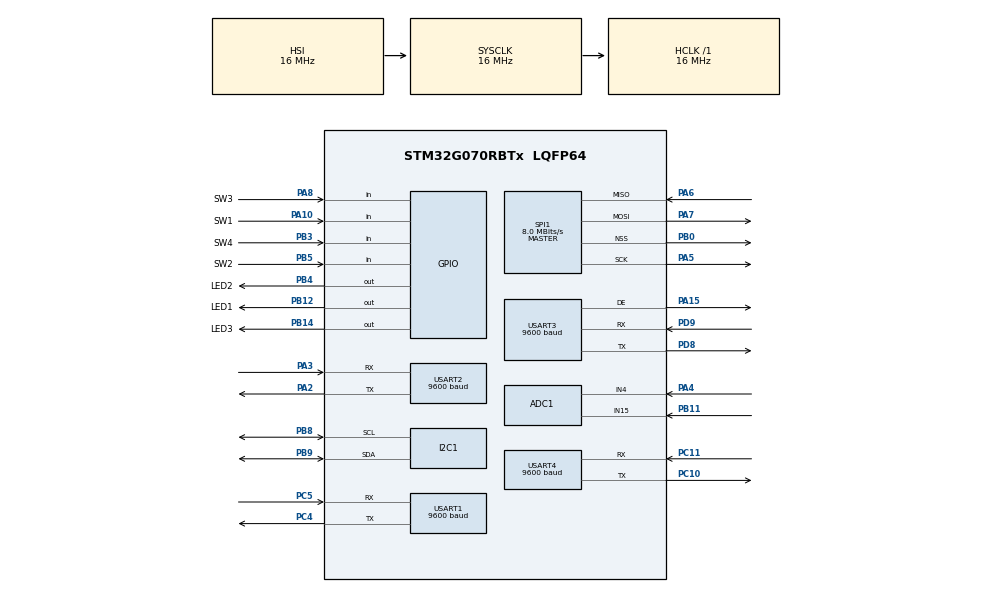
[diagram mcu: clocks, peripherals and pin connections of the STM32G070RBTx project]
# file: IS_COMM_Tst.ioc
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ADC1.DiscontinuousConvMode=ENABLE
ADC1.NbrOfConversion=1
ADC1.NbrOfConversionFlag=0
ADC1.SelectedChannel=ADC_CHANNEL_4|ADC_CHANNEL_15
ADC1.Sequencer=NOT_FULLY_CONFIGURABLE
ADC1.master=1
Mcu.Family=STM32G0
Mcu.Name=STM32G070RBTx
Mcu.Package=LQFP64
NVIC.USART1_IRQn=true\:0\:0\:false\:false\:true\:true\:true
NVIC.USART2_IRQn=true\:0\:0\:false\:false\:true\:true\:true
NVIC.USART3_4_IRQn=true\:0\:0\:false\:false\:true\:true\:true
PA10.GPIO_Label=SW1
PA10.Signal=GPIO_Input
PA15.Mode=Hardware Flow Control (RS485)
PA15.Signal=USART3_DE
PA2.Mode=Asynchronous
PA2.Signal=USART2_TX
PA3.Mode=Asynchronous
PA3.Signal=USART2_RX
PA4.Mode=IN4
PA4.Signal=ADC1_IN4
PA5.Mode=Full_Duplex_Master
PA5.Signal=SPI1_SCK
PA6.Mode=Full_Duplex_Master
PA6.Signal=SPI1_MISO
PA7.Mode=Full_Duplex_Master
PA7.Signal=SPI1_MOSI
PA8.GPIO_Label=SW3
PA8.Signal=GPIO_Input
PB0.Mode=NSS_Signal_Hard_Output
PB0.Signal=SPI1_NSS
PB11.Signal=SharedAnalog_PB11
PB12.GPIO_Label=LED1
PB12.Signal=GPIO_Output
PB14.GPIO_Label=LED3
PB14.Signal=GPIO_Output
PB3.GPIO_Label=SW4
PB3.Signal=GPIO_Input
PB4.GPIO_Label=LED2
PB4.Signal=GPIO_Output
PB5.GPIO_Label=SW2
PB5.Signal=GPIO_Input
PB8.Mode=I2C
PB8.Signal=I2C1_SCL
PB9.Mode=I2C
PB9.Signal=I2C1_SDA
PC10.Mode=Asynchronous
PC10.Signal=USART4_TX
PC11.Mode=Asynchronous
PC11.Signal=USART4_RX
PC4.Mode=Asynchronous
PC4.Signal=USART1_TX
PC5.Mode=Asynchronous
PC5.Signal=USART1_RX
PD8.Mode=Asynchronous
PD8.Signal=USART3_TX
PD9.Mode=Asynchronous
PD9.Signal=USART3_RX
ProjectManager.HeapSize=0x200
ProjectManager.StackSize=0x400
ProjectManager.TargetToolchain=EWARM V8.32
RCC.AHBFreq_Value=16000000
RCC.CortexFreq_Value=16000000
RCC.EXTERNAL_CLOCK_VALUE=48000
RCC.HCLKFreq_Value=16000000
RCC.HSE_VALUE=8000000
RCC.HSI_VALUE=16000000
RCC.LSE_VALUE=32768
RCC.SYSCLKFreq_VALUE=16000000
RCC.VCOOutputFreq_Value=128000000
SH.SharedAnalog_PB11.0=GPIO_Analog
SH.SharedAnalog_PB11.1=ADC1_IN15,IN15
SPI1.CalculateBaudRate=8.0 MBits/s
SPI1.DataSize=SPI_DATASIZE_8BIT
SPI1.Direction=SPI_DIRECTION_2LINES
SPI1.Mode=SPI_MODE_MASTER
SPI1.VirtualNSS=VM_NSSHARD
SPI1.VirtualType=VM_MASTER
USART1.BaudRate=9600
USART1.VirtualMode-Asynchronous=VM_ASYNC
USART2.BaudRate=9600
USART2.VirtualMode-Asynchronous=VM_ASYNC
USART3.BaudRate=9600
USART3.VirtualMode-Asynchronous=VM_ASYNC
USART3.VirtualMode-Hardware\ Flow\ Control\ (RS485)=VM_ASYNC
USART4.BaudRate=9600
USART4.VirtualMode-Asynchronous=VM_ASYNC
VP_SYS_VS_DBSignals.Mode=DisableDeadBatterySignals
board=custom

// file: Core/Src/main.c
/* USER CODE BEGIN Header */
/**
  ******************************************************************************
  * @file           : main.c
  * @brief          : Main program body
  ******************************************************************************
  * @attention
  *
  * <h2><center>&copy; Copyright (c) 2022 STMicroelectronics.
  * All rights reserved.</center></h2>
  *
  * This software component is licensed by ST under BSD 3-Clause license,
  * the "License"; You may not use this file except in compliance with the
  * License. You may obtain a copy of the License at:
  *                        opensource.org/licenses/BSD-3-Clause
  *
  ******************************************************************************
  */
/* USER CODE END Header */
#include "main.h"

/* USER CODE BEGIN Includes */
#include "stm32g0xx_ll_usart.h"
#include "gps.h"
#include "fonts.h"
#include "ssd1306.h"
#include "ux_manager.h"
#include <string.h>
#include <stdio.h>

/* USER CODE END Includes */

ADC_HandleTypeDef hadc1;

I2C_HandleTypeDef hi2c1;

SPI_HandleTypeDef hspi1;

UART_HandleTypeDef huart1;
UART_HandleTypeDef huart2;
UART_HandleTypeDef huart3;
UART_HandleTypeDef huart4;

/* USER CODE BEGIN PV */
// scheduler stuff
extern uint8_t ten_mS_Flag;
extern uint8_t twentyfive_mS_Flag;
extern uint8_t hundred_mS_Flag;
extern uint8_t one_S_Flag;
uint8_t mS200 = true;

// Test Values
int8_t charCounter = 0;
extern DWfloat counter;
uint32_t xmitDelay = 200000;
uint8_t remoteCounter = 0;
uint8_t remoteMessage[10];

uint8_t seqLED = 0;

extern DWuint8_t buttons;

// Fiber Optic stuff
uint8_t fo_char2Send[1] = {0};
uint8_t fo_byteReceived = 0;

// RS-485 stuff
uint8_t rs485_char2Send[1] = {0};
uint8_t rs485_byteReceived = 0;

/* USER CODE END PV */

void SystemClock_Config(void);
static void MX_GPIO_Init(void);
static void MX_USART3_UART_Init(void);
static void MX_USART1_UART_Init(void);
static void MX_USART2_UART_Init(void);
static void MX_USART4_UART_Init(void);
static void MX_ADC1_Init(void);
static void MX_I2C1_Init(void);
static void MX_SPI1_Init(void);

int main(void)
{

  /* MCU Configuration--------------------------------------------------------*/

  /* Reset of all peripherals, Initializes the Flash interface and the Systick. */
  HAL_Init();

  /* Configure the system clock */
  SystemClock_Config();

  /* Initialize all configured peripherals */
  MX_GPIO_Init();
  MX_USART3_UART_Init();
  MX_USART1_UART_Init();
  MX_USART2_UART_Init();
  MX_USART4_UART_Init();
  MX_ADC1_Init();
  MX_I2C1_Init();
  MX_SPI1_Init();
  /* USER CODE BEGIN 2 */
  LL_USART_EnableIT_RXNE_RXFNE(USART1);
  LL_USART_EnableIT_RXNE_RXFNE(USART2);
  LL_USART_EnableIT_RXNE_RXFNE(USART3);
  LL_USART_EnableIT_RXNE_RXFNE(USART4);

  SSD1306_Init();  // initialise

  SwitchScreens(SPLASH);

  HAL_GPIO_WritePin(LED1,LED_OFF);
  HAL_GPIO_WritePin(LED2,LED_OFF);
  HAL_GPIO_WritePin(LED3,LED_OFF);

  HAL_Delay (3000);

  SwitchScreens(SHOW_COUNT_N_BUTTONS);

  /* USER CODE END 2 */

  /* Infinite loop */
  /* USER CODE BEGIN WHILE */
  while (1)
  {
    //---------------------------------
    // 10mS Tasks
    if (ten_mS_Flag) {
      ten_mS_Flag = false;

    }  // end of 10mS Tasks
    //---------------------------------

    //---------------------------------
    // 25mS Tasks
    if (twentyfive_mS_Flag) {
      twentyfive_mS_Flag = false;

      buttons.data = ( (HAL_GPIO_ReadPin(SW4) << 3) | (HAL_GPIO_ReadPin(SW3) << 2) | (HAL_GPIO_ReadPin(SW2) << 1) | (HAL_GPIO_ReadPin(SW1) << 0) );
      if (buttons.data == 0x0E && currentScreen == SHOW_GPS_COORDS)  SwitchScreens(SHOW_COUNT_N_BUTTONS);       //Only turn back to the main screen if you are at GPS
    }  // end of 25mS Tasks
    //---------------------------------

    //---------------------------------
    // 100mS Tasks
    if (hundred_mS_Flag) {
      hundred_mS_Flag = false;

      if(GPS_Data_Valid == true) HAL_GPIO_WritePin(LED1,LED_ON);        //Turn on valid GPS packet LED
      else HAL_GPIO_WritePin(LED1,LED_OFF);

      if ((mS200 ^= true) == true)
        UpdateScreenValues();                   //Update live screen data

    }  // end of 100mS Tasks
    //---------------------------------

    //---------------------------------
    // 1 Sec Tasks
    if (one_S_Flag) {
      one_S_Flag = false;

    } // end of 1Sec Tasks
    //---------------------------------

    //---------------------------------
    // Every time through the loop

    /*  GPS Communication */
    if (!IsBufferEmpty(&gps_inputBuffer))
      ProcessGpsInputChar(&gps_inputBuffer);

    if (gpsProcessPacket == true)
      ProcessGPS_Packet();
    if (GPS_Data_Valid){
      //Update live screen info for GPS coords
      Latitude.data = gps_dat.Latitude;
      Latitude.valid = true;
      Longitude.data = gps_dat.Longitude;
      Longitude.valid = true;
    }
    //If PC has requested the GPS information
    if (Send_GPS_PC == true){
      Send_GPS_PC = false;
      if(GPS_Data_Valid == true){
        char message[25] = "";
        sprintf(message, "$r%f:%f", gps_dat.Latitude,gps_dat.Longitude);
        SendString(&pc_outputBuffer,message, sizeof(message), StripZeros, AddCRLF);
      }
      else
        SendString(&pc_outputBuffer,"$rNo_Lock", 11, StripZeros, AddCRLF);      //No GPS data available
    }

    /* PC Communication */
    if (!IsBufferEmpty(&pc_inputBuffer))
      ProcessInputChar(&pc_inputBuffer);

    if (pc_inputBuffer.PacketRdy == true)
      Process_Packet(&pc_inputBuffer);

    /* RS485 Communication */
    if (!IsBufferEmpty(&rs485_inputBuffer))
      ProcessInputChar(&rs485_inputBuffer);

    if (rs485_inputBuffer.PacketRdy == true)
      Process_Packet(&rs485_inputBuffer);

    /* FO Communication */
    if (!IsBufferEmpty(&fo_inputBuffer))
      ProcessInputChar(&fo_inputBuffer);

    if (fo_inputBuffer.PacketRdy == true)
      Process_Packet(&fo_inputBuffer);

    // end Every time through the loop
    //---------------------------------

    /* USER CODE END WHILE */

  }
}

void SystemClock_Config(void)
{
  RCC_OscInitTypeDef RCC_OscInitStruct = {0};
  RCC_ClkInitTypeDef RCC_ClkInitStruct = {0};
  RCC_PeriphCLKInitTypeDef PeriphClkInit = {0};

  /** Configure the main internal regulator output voltage
  */
  HAL_PWREx_ControlVoltageScaling(PWR_REGULATOR_VOLTAGE_SCALE1);
  /** Initializes the RCC Oscillators according to the specified parameters
  * in the RCC_OscInitTypeDef structure.
  */
  RCC_OscInitStruct.OscillatorType = RCC_OSCILLATORTYPE_HSI;
  RCC_OscInitStruct.HSIState = RCC_HSI_ON;
  RCC_OscInitStruct.HSIDiv = RCC_HSI_DIV1;
  RCC_OscInitStruct.HSICalibrationValue = RCC_HSICALIBRATION_DEFAULT;
  RCC_OscInitStruct.PLL.PLLState = RCC_PLL_NONE;
  if (HAL_RCC_OscConfig(&RCC_OscInitStruct) != HAL_OK)
  {
    Error_Handler();
  }
  /** Initializes the CPU, AHB and APB buses clocks
  */
  RCC_ClkInitStruct.ClockType = RCC_CLOCKTYPE_HCLK|RCC_CLOCKTYPE_SYSCLK
                              |RCC_CLOCKTYPE_PCLK1;
  RCC_ClkInitStruct.SYSCLKSource = RCC_SYSCLKSOURCE_HSI;
  RCC_ClkInitStruct.AHBCLKDivider = RCC_SYSCLK_DIV1;
  RCC_ClkInitStruct.APB1CLKDivider = RCC_HCLK_DIV1;

  if (HAL_RCC_ClockConfig(&RCC_ClkInitStruct, FLASH_LATENCY_0) != HAL_OK)
  {
    Error_Handler();
  }
  /** Initializes the peripherals clocks
  */
  PeriphClkInit.PeriphClockSelection = RCC_PERIPHCLK_USART1|RCC_PERIPHCLK_USART2
                              |RCC_PERIPHCLK_I2C1|RCC_PERIPHCLK_ADC;
  PeriphClkInit.Usart1ClockSelection = RCC_USART1CLKSOURCE_PCLK1;
  PeriphClkInit.Usart2ClockSelection = RCC_USART2CLKSOURCE_PCLK1;
  PeriphClkInit.I2c1ClockSelection = RCC_I2C1CLKSOURCE_PCLK1;
  PeriphClkInit.AdcClockSelection = RCC_ADCCLKSOURCE_SYSCLK;
  if (HAL_RCCEx_PeriphCLKConfig(&PeriphClkInit) != HAL_OK)
  {
    Error_Handler();
  }
}

static void MX_ADC1_Init(void)
{

  ADC_ChannelConfTypeDef sConfig = {0};

  /** Configure the global features of the ADC (Clock, Resolution, Data Alignment and number of conversion)
  */
  hadc1.Instance = ADC1;
  hadc1.Init.ClockPrescaler = ADC_CLOCK_SYNC_PCLK_DIV2;
  hadc1.Init.Resolution = ADC_RESOLUTION_12B;
  hadc1.Init.DataAlign = ADC_DATAALIGN_RIGHT;
  hadc1.Init.ScanConvMode = ADC_SCAN_SEQ_FIXED;
  hadc1.Init.EOCSelection = ADC_EOC_SINGLE_CONV;
  hadc1.Init.LowPowerAutoWait = DISABLE;
  hadc1.Init.LowPowerAutoPowerOff = DISABLE;
  hadc1.Init.ContinuousConvMode = DISABLE;
  hadc1.Init.NbrOfConversion = 1;
  hadc1.Init.DiscontinuousConvMode = ENABLE;
  hadc1.Init.ExternalTrigConv = ADC_SOFTWARE_START;
  hadc1.Init.ExternalTrigConvEdge = ADC_EXTERNALTRIGCONVEDGE_NONE;
  hadc1.Init.DMAContinuousRequests = DISABLE;
  hadc1.Init.Overrun = ADC_OVR_DATA_PRESERVED;
  hadc1.Init.SamplingTimeCommon1 = ADC_SAMPLETIME_1CYCLE_5;
  hadc1.Init.OversamplingMode = DISABLE;
  hadc1.Init.TriggerFrequencyMode = ADC_TRIGGER_FREQ_HIGH;
  if (HAL_ADC_Init(&hadc1) != HAL_OK)
  {
    Error_Handler();
  }
  /** Configure Regular Channel
  */
  sConfig.Channel = ADC_CHANNEL_4;
  sConfig.Rank = ADC_RANK_CHANNEL_NUMBER;
  if (HAL_ADC_ConfigChannel(&hadc1, &sConfig) != HAL_OK)
  {
    Error_Handler();
  }
  /** Configure Regular Channel
  */
  sConfig.Channel = ADC_CHANNEL_15;
  if (HAL_ADC_ConfigChannel(&hadc1, &sConfig) != HAL_OK)
  {
    Error_Handler();
  }

}

static void MX_I2C1_Init(void)
{

  hi2c1.Instance = I2C1;
  hi2c1.Init.Timing = 0x00303D5B;
  hi2c1.Init.OwnAddress1 = 0;
  hi2c1.Init.AddressingMode = I2C_ADDRESSINGMODE_7BIT;
  hi2c1.Init.DualAddressMode = I2C_DUALADDRESS_DISABLE;
  hi2c1.Init.OwnAddress2 = 0;
  hi2c1.Init.OwnAddress2Masks = I2C_OA2_NOMASK;
  hi2c1.Init.GeneralCallMode = I2C_GENERALCALL_DISABLE;
  hi2c1.Init.NoStretchMode = I2C_NOSTRETCH_DISABLE;
  if (HAL_I2C_Init(&hi2c1) != HAL_OK)
  {
    Error_Handler();
  }
  /** Configure Analogue filter
  */
  if (HAL_I2CEx_ConfigAnalogFilter(&hi2c1, I2C_ANALOGFILTER_ENABLE) != HAL_OK)
  {
    Error_Handler();
  }
  /** Configure Digital filter
  */
  if (HAL_I2CEx_ConfigDigitalFilter(&hi2c1, 0) != HAL_OK)
  {
    Error_Handler();
  }

}

static void MX_SPI1_Init(void)
{

  /* SPI1 parameter configuration*/
  hspi1.Instance = SPI1;
  hspi1.Init.Mode = SPI_MODE_MASTER;
  hspi1.Init.Direction = SPI_DIRECTION_2LINES;
  hspi1.Init.DataSize = SPI_DATASIZE_8BIT;
  hspi1.Init.CLKPolarity = SPI_POLARITY_LOW;
  hspi1.Init.CLKPhase = SPI_PHASE_1EDGE;
  hspi1.Init.NSS = SPI_NSS_HARD_OUTPUT;
  hspi1.Init.BaudRatePrescaler = SPI_BAUDRATEPRESCALER_2;
  hspi1.Init.FirstBit = SPI_FIRSTBIT_MSB;
  hspi1.Init.TIMode = SPI_TIMODE_DISABLE;
  hspi1.Init.CRCCalculation = SPI_CRCCALCULATION_DISABLE;
  hspi1.Init.CRCPolynomial = 7;
  hspi1.Init.CRCLength = SPI_CRC_LENGTH_DATASIZE;
  hspi1.Init.NSSPMode = SPI_NSS_PULSE_ENABLE;
  if (HAL_SPI_Init(&hspi1) != HAL_OK)
  {
    Error_Handler();
  }

}

static void MX_USART1_UART_Init(void)
{

  huart1.Instance = USART1;
  huart1.Init.BaudRate = 9600;
  huart1.Init.WordLength = UART_WORDLENGTH_8B;
  huart1.Init.StopBits = UART_STOPBITS_1;
  huart1.Init.Parity = UART_PARITY_NONE;
  huart1.Init.Mode = UART_MODE_TX_RX;
  huart1.Init.HwFlowCtl = UART_HWCONTROL_NONE;
  huart1.Init.OverSampling = UART_OVERSAMPLING_16;
  huart1.Init.OneBitSampling = UART_ONE_BIT_SAMPLE_DISABLE;
  huart1.Init.ClockPrescaler = UART_PRESCALER_DIV1;
  huart1.AdvancedInit.AdvFeatureInit = UART_ADVFEATURE_NO_INIT;
  if (HAL_UART_Init(&huart1) != HAL_OK)
  {
    Error_Handler();
  }
  if (HAL_UARTEx_SetTxFifoThreshold(&huart1, UART_TXFIFO_THRESHOLD_1_8) != HAL_OK)
  {
    Error_Handler();
  }
  if (HAL_UARTEx_SetRxFifoThreshold(&huart1, UART_RXFIFO_THRESHOLD_1_8) != HAL_OK)
  {
    Error_Handler();
  }
  if (HAL_UARTEx_DisableFifoMode(&huart1) != HAL_OK)
  {
    Error_Handler();
  }

}

static void MX_USART2_UART_Init(void)
{

  huart2.Instance = USART2;
  huart2.Init.BaudRate = 9600;
  huart2.Init.WordLength = UART_WORDLENGTH_8B;
  huart2.Init.StopBits = UART_STOPBITS_1;
  huart2.Init.Parity = UART_PARITY_NONE;
  huart2.Init.Mode = UART_MODE_TX_RX;
  huart2.Init.HwFlowCtl = UART_HWCONTROL_NONE;
  huart2.Init.OverSampling = UART_OVERSAMPLING_16;
  huart2.Init.OneBitSampling = UART_ONE_BIT_SAMPLE_DISABLE;
  huart2.Init.ClockPrescaler = UART_PRESCALER_DIV1;
  huart2.AdvancedInit.AdvFeatureInit = UART_ADVFEATURE_NO_INIT;
  if (HAL_UART_Init(&huart2) != HAL_OK)
  {
    Error_Handler();
  }
  if (HAL_UARTEx_SetTxFifoThreshold(&huart2, UART_TXFIFO_THRESHOLD_1_8) != HAL_OK)
  {
    Error_Handler();
  }
  if (HAL_UARTEx_SetRxFifoThreshold(&huart2, UART_RXFIFO_THRESHOLD_1_8) != HAL_OK)
  {
    Error_Handler();
  }
  if (HAL_UARTEx_DisableFifoMode(&huart2) != HAL_OK)
  {
    Error_Handler();
  }

}

static void MX_USART3_UART_Init(void)
{

  huart3.Instance = USART3;
  huart3.Init.BaudRate = 9600;
  huart3.Init.WordLength = UART_WORDLENGTH_8B;
  huart3.Init.StopBits = UART_STOPBITS_1;
  huart3.Init.Parity = UART_PARITY_NONE;
  huart3.Init.Mode = UART_MODE_TX_RX;
  huart3.Init.HwFlowCtl = UART_HWCONTROL_NONE;
  huart3.Init.OverSampling = UART_OVERSAMPLING_16;
  huart3.Init.OneBitSampling = UART_ONE_BIT_SAMPLE_DISABLE;
  huart3.Init.ClockPrescaler = UART_PRESCALER_DIV1;
  huart3.AdvancedInit.AdvFeatureInit = UART_ADVFEATURE_NO_INIT;
  if (HAL_RS485Ex_Init(&huart3, UART_DE_POLARITY_HIGH, 0, 0) != HAL_OK)
  {
    Error_Handler();
  }

}

static void MX_USART4_UART_Init(void)
{

  huart4.Instance = USART4;
  huart4.Init.BaudRate = 9600;
  huart4.Init.WordLength = UART_WORDLENGTH_8B;
  huart4.Init.StopBits = UART_STOPBITS_1;
  huart4.Init.Parity = UART_PARITY_NONE;
  huart4.Init.Mode = UART_MODE_TX_RX;
  huart4.Init.HwFlowCtl = UART_HWCONTROL_NONE;
  huart4.Init.OverSampling = UART_OVERSAMPLING_16;
  huart4.Init.OneBitSampling = UART_ONE_BIT_SAMPLE_DISABLE;
  huart4.Init.ClockPrescaler = UART_PRESCALER_DIV1;
  huart4.AdvancedInit.AdvFeatureInit = UART_ADVFEATURE_NO_INIT;
  if (HAL_UART_Init(&huart4) != HAL_OK)
  {
    Error_Handler();
  }

}

static void MX_GPIO_Init(void)
{
  GPIO_InitTypeDef GPIO_InitStruct = {0};

  /* GPIO Ports Clock Enable */
  __HAL_RCC_GPIOC_CLK_ENABLE();
  __HAL_RCC_GPIOA_CLK_ENABLE();
  __HAL_RCC_GPIOB_CLK_ENABLE();
  __HAL_RCC_GPIOD_CLK_ENABLE();

  /*Configure GPIO pin Output Level */
  HAL_GPIO_WritePin(GPIOB, LED1_Pin|LED3_Pin|LED2_Pin, GPIO_PIN_RESET);

  /*Configure GPIO pins : LED1_Pin LED3_Pin LED2_Pin */
  GPIO_InitStruct.Pin = LED1_Pin|LED3_Pin|LED2_Pin;
  GPIO_InitStruct.Mode = GPIO_MODE_OUTPUT_PP;
  GPIO_InitStruct.Pull = GPIO_NOPULL;
  GPIO_InitStruct.Speed = GPIO_SPEED_FREQ_LOW;
  HAL_GPIO_Init(GPIOB, &GPIO_InitStruct);

  /*Configure GPIO pins : SW3_Pin SW1_Pin */
  GPIO_InitStruct.Pin = SW3_Pin|SW1_Pin;
  GPIO_InitStruct.Mode = GPIO_MODE_INPUT;
  GPIO_InitStruct.Pull = GPIO_NOPULL;
  HAL_GPIO_Init(GPIOA, &GPIO_InitStruct);

  /*Configure GPIO pins : SW4_Pin SW2_Pin */
  GPIO_InitStruct.Pin = SW4_Pin|SW2_Pin;
  GPIO_InitStruct.Mode = GPIO_MODE_INPUT;
  GPIO_InitStruct.Pull = GPIO_NOPULL;
  HAL_GPIO_Init(GPIOB, &GPIO_InitStruct);

}

void Error_Handler(void)
{
  __disable_irq();
  while (1)
  {
  }
}

/************************ (C) COPYRIGHT STMicroelectronics *****END OF FILE****/
